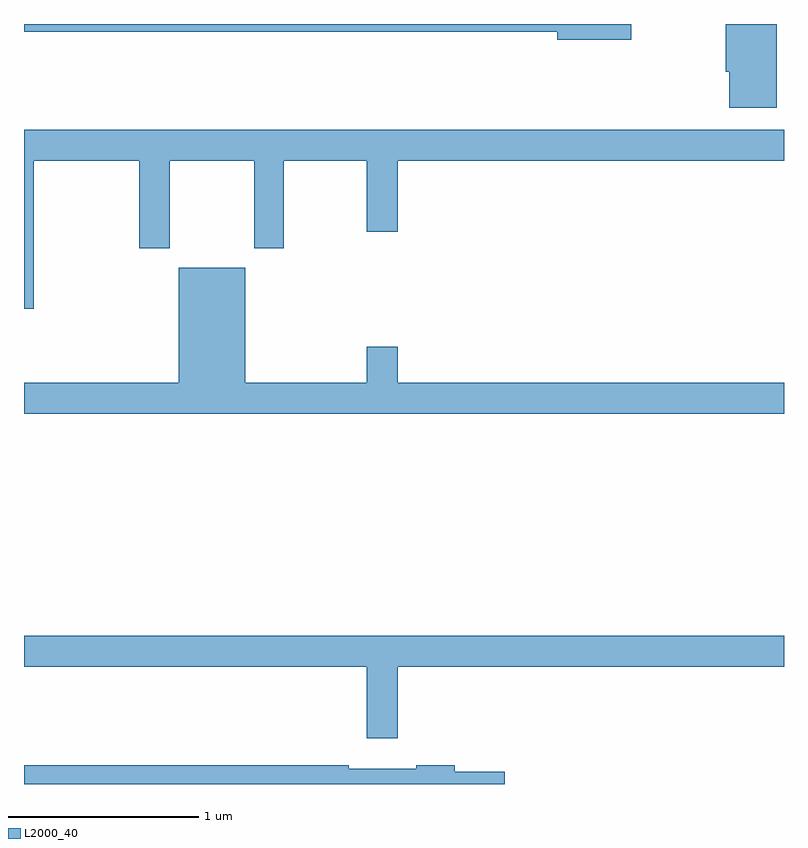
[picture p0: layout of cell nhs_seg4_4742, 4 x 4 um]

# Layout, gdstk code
import gdstk
lib = gdstk.Library(unit=1e-6, precision=1e-09)
def P(c, l, *ps):  # polygons
    for p in ps: c.add(gdstk.Polygon(p, *l))
L2000_40 = (2000, 40)

nhs_seg4_4742 = lib.new_cell('nhs_seg4_4742')
P(nhs_seg4_4742, L2000_40, [(370.963,770.9),(370.694,770.9),(370.694,770.649),(370.712,770.649),(370.712,770.459),(370.963,770.459)],
  [(370.195,770.9),(367,770.9),(367,770.86),(369.806,770.86),(369.806,770.818),(370.195,770.818)],
  [(367.052,770.18),(367.607,770.18),(367.607,769.719),(367.767,769.719),(367.767,770.18),(368.212,770.18),(368.212,769.719),(368.367,769.719),(368.367,770.18),(368.804,770.18),(368.804,769.806),(368.968,769.806),(368.968,770.18),(371,770.18),(371,770.344),(367,770.344),(367,769.401),(367.052,769.401)],
  [(371,769.012),(368.968,769.012),(368.968,769.201),(368.804,769.201),(368.804,769.012),(368.164,769.012),(368.164,769.618),(367.814,769.618),(367.814,769.012),(367,769.012),(367,768.848),(371,768.848)],
  [(368.968,767.516),(371,767.516),(371,767.68),(367,767.68),(367,767.516),(368.804,767.516),(368.804,767.142),(368.968,767.142)],
  [(369.529,766.964),(369.268,766.964),(369.268,767),(369.064,767),(369.064,766.981),(368.708,766.981),(368.708,767),(367,767),(367,766.9),(369.529,766.9)])

lib.write_gds('nhs_seg4_4742.gds')
